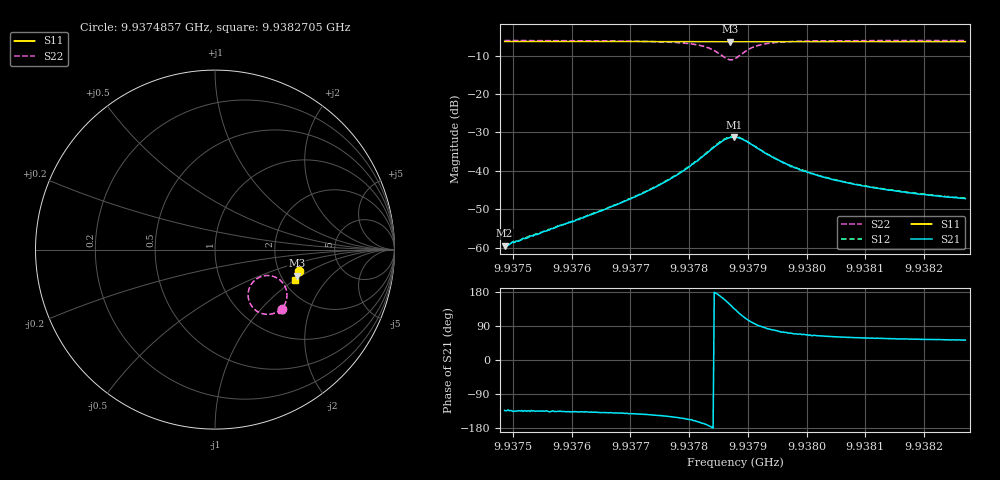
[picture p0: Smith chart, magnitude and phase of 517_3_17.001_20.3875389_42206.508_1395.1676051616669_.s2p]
#  HZ  S  RI  R  50.00
! Rohde & Schwarz Vector Network Analyzer
! Rohde-Schwarz,ZNB20-2Port,1311601062101988,3.16
! Created: UTC 3/20/2024, 11:15:15 PM
! freq[Hz]  re:S11  im:S11  re:S21  im:S21  re:S12  im:S12  re:S22  im:S22
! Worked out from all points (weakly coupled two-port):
!   401 points, 9.9374857 GHz to 9.9382705 GHz, reference 50 ohm
!   highest |S21| = -31.20 dB at 9.9378762 GHz (marker M1); lowest = -59.5 dB at 9.9374857 GHz (marker M2)
!   lowest |S11| = -6.4 dB at 9.9378703 GHz (marker M3), VSWR 2.83, Z = 122 - j45.5 ohm
!   |S11| at or under -10 dB: nowhere
!   |S22| runs from -11.1 to -6.1 dB; largest |S21 - S12| = 0.0012
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9.93748574e9  0.4676 -0.1206  -0.000723 -0.000775  -0.00073 -0.000753  0.3715 -0.3292
9.93761719e9  0.4644 -0.1294  -0.00177 -0.00168  -0.00181 -0.00167  0.3558 -0.3415
9.93768783e9  0.4628 -0.1341  -0.00306 -0.00256  -0.00315 -0.00247  0.3411 -0.3497
9.93774865e9  0.4611 -0.1384  -0.0054 -0.0036  -0.00553 -0.00358  0.3179 -0.3579
9.93778789e9  0.4597 -0.1411  -0.00871 -0.00432  -0.009 -0.00428  0.2885 -0.3608
9.93782713e9  0.4579 -0.1437  -0.016 -0.00316  -0.0164 -0.00281  0.2307 -0.3413
9.93784086e9  0.4571 -0.1444  -0.0198 -0.000162  -0.0203 0.000185  0.2034 -0.3137
9.9378546e9  0.4562 -0.1445  -0.0231 0.0056  -0.0236 0.00639  0.185 -0.2631
9.93786441e9  0.4556 -0.1445  -0.0235 0.0116  -0.0237 0.0125  0.1913 -0.2144
9.93787029e9  0.4555 -0.1445  -0.0223 0.0155  -0.0224 0.0166  0.2073 -0.1863
9.93787618e9  0.4556 -0.1444  -0.0198 0.0191  -0.0198 0.0199  0.2313 -0.1634
9.93787814e9  0.4557 -0.1443  -0.0189 0.0198  -0.0187 0.0208  0.2408 -0.1578
9.93788795e9  0.4561 -0.1444  -0.0132 0.0229  -0.0127 0.0235  0.2906 -0.1443
9.93790169e9  0.4567 -0.1452  -0.00563 0.0225  -0.00505 0.0229  0.3476 -0.1593
9.93792327e9  0.4569 -0.147  0.00063 0.0184  0.00115 0.0185  0.3893 -0.2038
9.93797036e9  0.4563 -0.1505  0.00394 0.0113  0.00408 0.0112  0.4005 -0.2654
9.9380096e9  0.4555 -0.1536  0.0041 0.00832  0.00403 0.00832  0.3951 -0.2897
9.93804688e9  0.4545 -0.1561  0.00364 0.00673  0.0038 0.00672  0.3893 -0.3035
9.93807435e9  0.4537 -0.1581  0.00348 0.00594  0.00365 0.00592  0.3854 -0.3107
9.93814105e9  0.4519 -0.1624  0.00309 0.00467  0.00323 0.00468  0.3771 -0.3231
9.93819207e9  0.4504 -0.1657  0.00288 0.00407  0.00301 0.00408  0.3722 -0.3294
9.93827055e9  0.4484 -0.1706  0.00266 0.00345  0.00275 0.0035  0.3652 -0.3376
